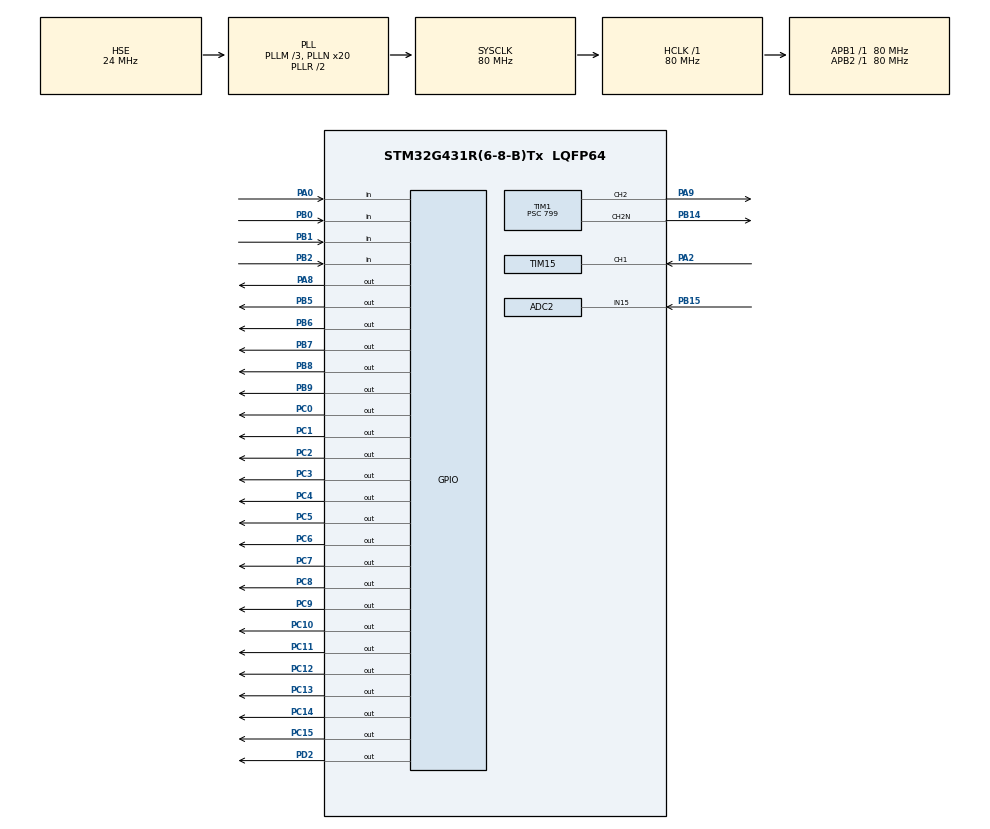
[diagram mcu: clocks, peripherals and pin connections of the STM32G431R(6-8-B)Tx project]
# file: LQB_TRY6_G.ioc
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ADC2.Channel-0\#ChannelRegularConversion=ADC_CHANNEL_15
ADC2.NbrOfConversionFlag=1
ADC2.OffsetNumber-0\#ChannelRegularConversion=ADC_OFFSET_NONE
ADC2.Rank-0\#ChannelRegularConversion=1
ADC2.SamplingTime-0\#ChannelRegularConversion=ADC_SAMPLETIME_2CYCLES_5
Mcu.Family=STM32G4
Mcu.Name=STM32G431R(6-8-B)Tx
Mcu.Package=LQFP64
NVIC.PriorityGroup=NVIC_PRIORITYGROUP_4
NVIC.TIM1_BRK_TIM15_IRQn=true\:0\:0\:false\:false\:true\:true\:true
NVIC.TIM1_UP_TIM16_IRQn=true\:0\:0\:false\:false\:true\:true\:true
NVIC.TIM6_DAC_IRQn=true\:0\:0\:false\:false\:true\:true\:true
PA0.Signal=GPIO_Input
PA13.Mode=Serial_Wire
PA13.Signal=SYS_JTMS-SWDIO
PA14.Mode=Serial_Wire
PA14.Signal=SYS_JTCK-SWCLK
PA2.Signal=S_TIM15_CH1
PA8.Signal=GPIO_Output
PA9.Signal=S_TIM1_CH2
PB0.Signal=GPIO_Input
PB1.Signal=GPIO_Input
PB14.Mode=PWM Generation2 CH2 CH2N
PB14.Signal=TIM1_CH2N
PB15.Mode=IN15-Single-Ended
PB15.Signal=ADC2_IN15
PB2.Signal=GPIO_Input
PB5.Signal=GPIO_Output
PB6.Signal=GPIO_Output
PB7.Signal=GPIO_Output
PB8-BOOT0.Signal=GPIO_Output
PB9.Signal=GPIO_Output
PC0.Signal=GPIO_Output
PC1.Signal=GPIO_Output
PC10.Signal=GPIO_Output
PC11.Signal=GPIO_Output
PC12.Signal=GPIO_Output
PC13.Signal=GPIO_Output
PC14-OSC32_IN.Signal=GPIO_Output
PC15-OSC32_OUT.Signal=GPIO_Output
PC2.Signal=GPIO_Output
PC3.Signal=GPIO_Output
PC4.Signal=GPIO_Output
PC5.Signal=GPIO_Output
PC6.Signal=GPIO_Output
PC7.Signal=GPIO_Output
PC8.Signal=GPIO_Output
PC9.Signal=GPIO_Output
PD2.Signal=GPIO_Output
PF0-OSC_IN.Mode=HSE-External-Oscillator
PF0-OSC_IN.Signal=RCC_OSC_IN
PF1-OSC_OUT.Mode=HSE-External-Oscillator
PF1-OSC_OUT.Signal=RCC_OSC_OUT
ProjectManager.HeapSize=0x200
ProjectManager.StackSize=0x400
ProjectManager.TargetToolchain=MDK-ARM V5
RCC.ADC12Freq_Value=80000000
RCC.AHBFreq_Value=80000000
RCC.APB1Freq_Value=80000000
RCC.APB1TimFreq_Value=80000000
RCC.APB2Freq_Value=80000000
RCC.APB2TimFreq_Value=80000000
RCC.CortexFreq_Value=80000000
RCC.EXTERNAL_CLOCK_VALUE=12288000
RCC.HCLKFreq_Value=80000000
RCC.HSE_VALUE=24000000
RCC.HSI48_VALUE=48000000
RCC.HSI_VALUE=16000000
RCC.LSE_VALUE=32768
RCC.PLLM=RCC_PLLM_DIV3
RCC.PLLN=20
RCC.PLLSourceVirtual=RCC_PLLSOURCE_HSE
RCC.SYSCLKFreq_VALUE=80000000
RCC.SYSCLKSource=RCC_SYSCLKSOURCE_PLLCLK
RCC.USBFreq_Value=80000000
RCC.VCOOutputFreq_Value=160000000
SH.S_TIM15_CH1.0=TIM15_CH1,Input_Capture1_from_TI1
SH.S_TIM15_CH1.1=TIM15_CH1,Input_Capture2_from_TI1
SH.S_TIM1_CH2.0=TIM1_CH2,PWM Generation2 CH2 CH2N
TIM1.Channel-PWM\ Generation2\ CH2\ CH2N=TIM_CHANNEL_2
TIM1.PeriodNoDither=99
TIM1.Prescaler=799
TIM15.Channel-Input_Capture1_from_TI1=TIM_CHANNEL_1
TIM15.Channel-Input_Capture2_from_TI1=TIM_CHANNEL_2
TIM15.ICPolarity_CH2=TIM_INPUTCHANNELPOLARITY_FALLING
TIM15.PeriodNoDither=0xff
TIM15.Prescaler=799
TIM6.PeriodNoDither=999
TIM6.Prescaler=799
VP_SYS_VS_DBSignals.Mode=DisableDeadBatterySignals
VP_TIM15_VS_ClockSourceINT.Mode=Internal
VP_TIM6_VS_ClockSourceINT.Mode=Enable_Timer
board=custom

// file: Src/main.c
/* USER CODE BEGIN Header */
/**
  ******************************************************************************
  * @file           : main.c
  * @brief          : Main program body
  ******************************************************************************
  * @attention
  *
  * <h2><center>&copy; Copyright (c) 2023 STMicroelectronics.
  * All rights reserved.</center></h2>
  *
  * This software component is licensed by ST under BSD 3-Clause license,
  * the "License"; You may not use this file except in compliance with the
  * License. You may obtain a copy of the License at:
  *                        opensource.org/licenses/BSD-3-Clause
  *
  ******************************************************************************
  */
/* USER CODE END Header */

#include "main.h"
#include "adc.h"
#include "tim.h"
#include "gpio.h"

/* USER CODE BEGIN Includes */
#include "lcd.h"
#include "mint.h"
#include "i2c_hal.h"
#include "stdio.h"
#include "string.h"

/* USER CODE END Includes */

/* USER CODE BEGIN PV */
extern keys key[4];
char text[30];
bool page=0,out_sta=1;
unsigned char duty=0,frq=1;
double adc_val=0;
extern double DUTY,FRQ;
/* USER CODE END PV */

void SystemClock_Config(void);
/* USER CODE BEGIN PFP */
void KEY_Proc(void);
void LCD_Proc(void);
double ADC_Proc(void);
void LED_Proc(unsigned char led,unsigned char sta);
/* USER CODE END PFP */

int main(void)
{

  /* MCU Configuration--------------------------------------------------------*/

  /* Reset of all peripherals, Initializes the Flash interface and the Systick. */
  HAL_Init();

  /* Configure the system clock */
  SystemClock_Config();

  /* Initialize all configured peripherals */
  MX_GPIO_Init();
  MX_ADC2_Init();
  MX_TIM1_Init();
  MX_TIM6_Init();
  MX_TIM15_Init();
  /* USER CODE BEGIN 2 */
	HAL_TIM_Base_Start_IT(&htim6);
	HAL_TIM_PWM_Start(&htim1,TIM_CHANNEL_2);
	HAL_TIMEx_PWMN_Start(&htim1,TIM_CHANNEL_2);
	__HAL_TIM_SetCompare(&htim1,TIM_CHANNEL_2,50);

	HAL_ADCEx_Calibration_Start(&hadc2,ADC_SINGLE_ENDED);

	LCD_Init();
	LCD_Clear(White);
	LCD_SetBackColor(White);
	LCD_SetTextColor(Black);
	frq = eeprom_read(0);
	if(frq ==0 || frq > 10) frq = 1;
	htim1.Init.Prescaler = (800000/frq/1000)-1;
	HAL_TIM_Base_Init(&htim1);
	LED_Proc(1,1);

	HAL_TIM_IC_Start_IT(&htim15,TIM_CHANNEL_1);
	HAL_TIM_IC_Start_IT(&htim15,TIM_CHANNEL_2);
  /* USER CODE END 2 */

  /* Infinite loop */
  /* USER CODE BEGIN WHILE */
  while (1)
  {
		KEY_Proc();
		LCD_Proc();
		adc_val = ADC_Proc();
		duty = (unsigned char)(adc_val/3.3*100);
		if(out_sta == 1) __HAL_TIM_SetCompare(&htim1,TIM_CHANNEL_2,duty);
    /* USER CODE END WHILE */

  }
}

void SystemClock_Config(void)
{
  RCC_OscInitTypeDef RCC_OscInitStruct = {0};
  RCC_ClkInitTypeDef RCC_ClkInitStruct = {0};
  RCC_PeriphCLKInitTypeDef PeriphClkInit = {0};

  /** Configure the main internal regulator output voltage
  */
  HAL_PWREx_ControlVoltageScaling(PWR_REGULATOR_VOLTAGE_SCALE1);
  /** Initializes the CPU, AHB and APB busses clocks
  */
  RCC_OscInitStruct.OscillatorType = RCC_OSCILLATORTYPE_HSE;
  RCC_OscInitStruct.HSEState = RCC_HSE_ON;
  RCC_OscInitStruct.PLL.PLLState = RCC_PLL_ON;
  RCC_OscInitStruct.PLL.PLLSource = RCC_PLLSOURCE_HSE;
  RCC_OscInitStruct.PLL.PLLM = RCC_PLLM_DIV3;
  RCC_OscInitStruct.PLL.PLLN = 20;
  RCC_OscInitStruct.PLL.PLLP = RCC_PLLP_DIV2;
  RCC_OscInitStruct.PLL.PLLQ = RCC_PLLQ_DIV2;
  RCC_OscInitStruct.PLL.PLLR = RCC_PLLR_DIV2;
  if (HAL_RCC_OscConfig(&RCC_OscInitStruct) != HAL_OK)
  {
    Error_Handler();
  }
  /** Initializes the CPU, AHB and APB busses clocks
  */
  RCC_ClkInitStruct.ClockType = RCC_CLOCKTYPE_HCLK|RCC_CLOCKTYPE_SYSCLK
                              |RCC_CLOCKTYPE_PCLK1|RCC_CLOCKTYPE_PCLK2;
  RCC_ClkInitStruct.SYSCLKSource = RCC_SYSCLKSOURCE_PLLCLK;
  RCC_ClkInitStruct.AHBCLKDivider = RCC_SYSCLK_DIV1;
  RCC_ClkInitStruct.APB1CLKDivider = RCC_HCLK_DIV1;
  RCC_ClkInitStruct.APB2CLKDivider = RCC_HCLK_DIV1;

  if (HAL_RCC_ClockConfig(&RCC_ClkInitStruct, FLASH_LATENCY_3) != HAL_OK)
  {
    Error_Handler();
  }
  /** Initializes the peripherals clocks
  */
  PeriphClkInit.PeriphClockSelection = RCC_PERIPHCLK_ADC12;
  PeriphClkInit.Adc12ClockSelection = RCC_ADC12CLKSOURCE_SYSCLK;
  if (HAL_RCCEx_PeriphCLKConfig(&PeriphClkInit) != HAL_OK)
  {
    Error_Handler();
  }
}

/* USER CODE BEGIN 4 */
void KEY_Proc(void)
{
	if(key[0].single_sta == 1)
	{
		if(out_sta == 0)
		{
			out_sta = 1;
			LED_Proc(1,1);
			HAL_TIM_PWM_Start(&htim1,TIM_CHANNEL_2);
			HAL_TIMEx_PWMN_Start(&htim1,TIM_CHANNEL_2);
		}
		else
		{
			out_sta = 0;
			LED_Proc(1,0);
			HAL_TIM_PWM_Stop(&htim1,TIM_CHANNEL_2);
			HAL_TIMEx_PWMN_Stop(&htim1,TIM_CHANNEL_2);
		}
		key[0].single_sta = 0;
	}
	if(key[1].single_sta == 1)
	{
		page = page==0?1:0;
		if(page == 0) eeprom_write(0,frq);
		key[1].single_sta = 0;
	}
	if(key[2].single_sta == 1)
	{
		if(page == 1)
		{
			frq = frq==10?1:frq+1;
			htim1.Init.Prescaler = (800000/frq/1000)-1;
			HAL_TIM_Base_Init(&htim1);
		}
		key[2].single_sta = 0;
	}
	if(key[3].single_sta == 1)
	{

		key[3].single_sta = 0;
	}
}
void LCD_Proc(void)
{
	if(page == 0)
	{
		LCD_DisplayStringLine(Line1,(u8 *)"        Para        ");
		sprintf(text,"    Vol:%4.2fV       ",adc_val);
		LCD_DisplayStringLine(Line2,(u8 *)text);
		if(out_sta == 1) sprintf(text,"    Out:Start        ");
		else sprintf(text,"    Out:Stop         ");
		LCD_DisplayStringLine(Line3,(u8 *)text);
		sprintf(text,"    Par:PA9=%d%%     ",duty);
		LCD_DisplayStringLine(Line4,(u8 *)text);
		sprintf(text,"        PB14=%d%%    ",(100-duty));
		LCD_DisplayStringLine(Line5,(u8 *)text);
		sprintf(text,"        %dKHZ        ",frq);
		LCD_DisplayStringLine(Line6,(u8 *)text);

		sprintf(text,"   %4.0fHZ   %2.0f        ",FRQ,DUTY);
		LCD_DisplayStringLine(Line9,(u8 *)text);

	}
	else if(page == 1)
	{
		LCD_DisplayStringLine(Line1,(u8 *)"      Setting       ");
		LCD_DisplayStringLine(Line2,(u8 *)"                    ");

		sprintf(text,"      FRQ=%dKHZ      ",frq);
		LCD_DisplayStringLine(Line3,(u8 *)text);

		LCD_DisplayStringLine(Line4,(u8 *)"                    ");
		LCD_DisplayStringLine(Line5,(u8 *)"                    ");
		LCD_DisplayStringLine(Line6,(u8 *)"                    ");

		sprintf(text,"   %4.0fHZ   %2.0f        ",FRQ,DUTY);
		LCD_DisplayStringLine(Line9,(u8 *)text);
	}
	else page = 0;
}
double ADC_Proc(void)
{
	double adc;
	HAL_ADC_Start(&hadc2);
	adc = HAL_ADC_GetValue(&hadc2)*3.3/4095;
	return adc;
}
void LED_Proc(unsigned char led,unsigned char sta)
{
	static unsigned char LED_sta = 0xff;
	if(sta == 0) LED_sta |= (0x01 << (led-1));
	else if(sta == 1) LED_sta &= ~(0x01 << (led-1));

	GPIOC->ODR = LED_sta << 8;
	HAL_GPIO_WritePin(GPIOD,GPIO_PIN_2,GPIO_PIN_SET);
	HAL_GPIO_WritePin(GPIOD,GPIO_PIN_2,GPIO_PIN_RESET);
}
/* USER CODE END 4 */

void Error_Handler(void)
{
}

/************************ (C) COPYRIGHT STMicroelectronics *****END OF FILE****/
